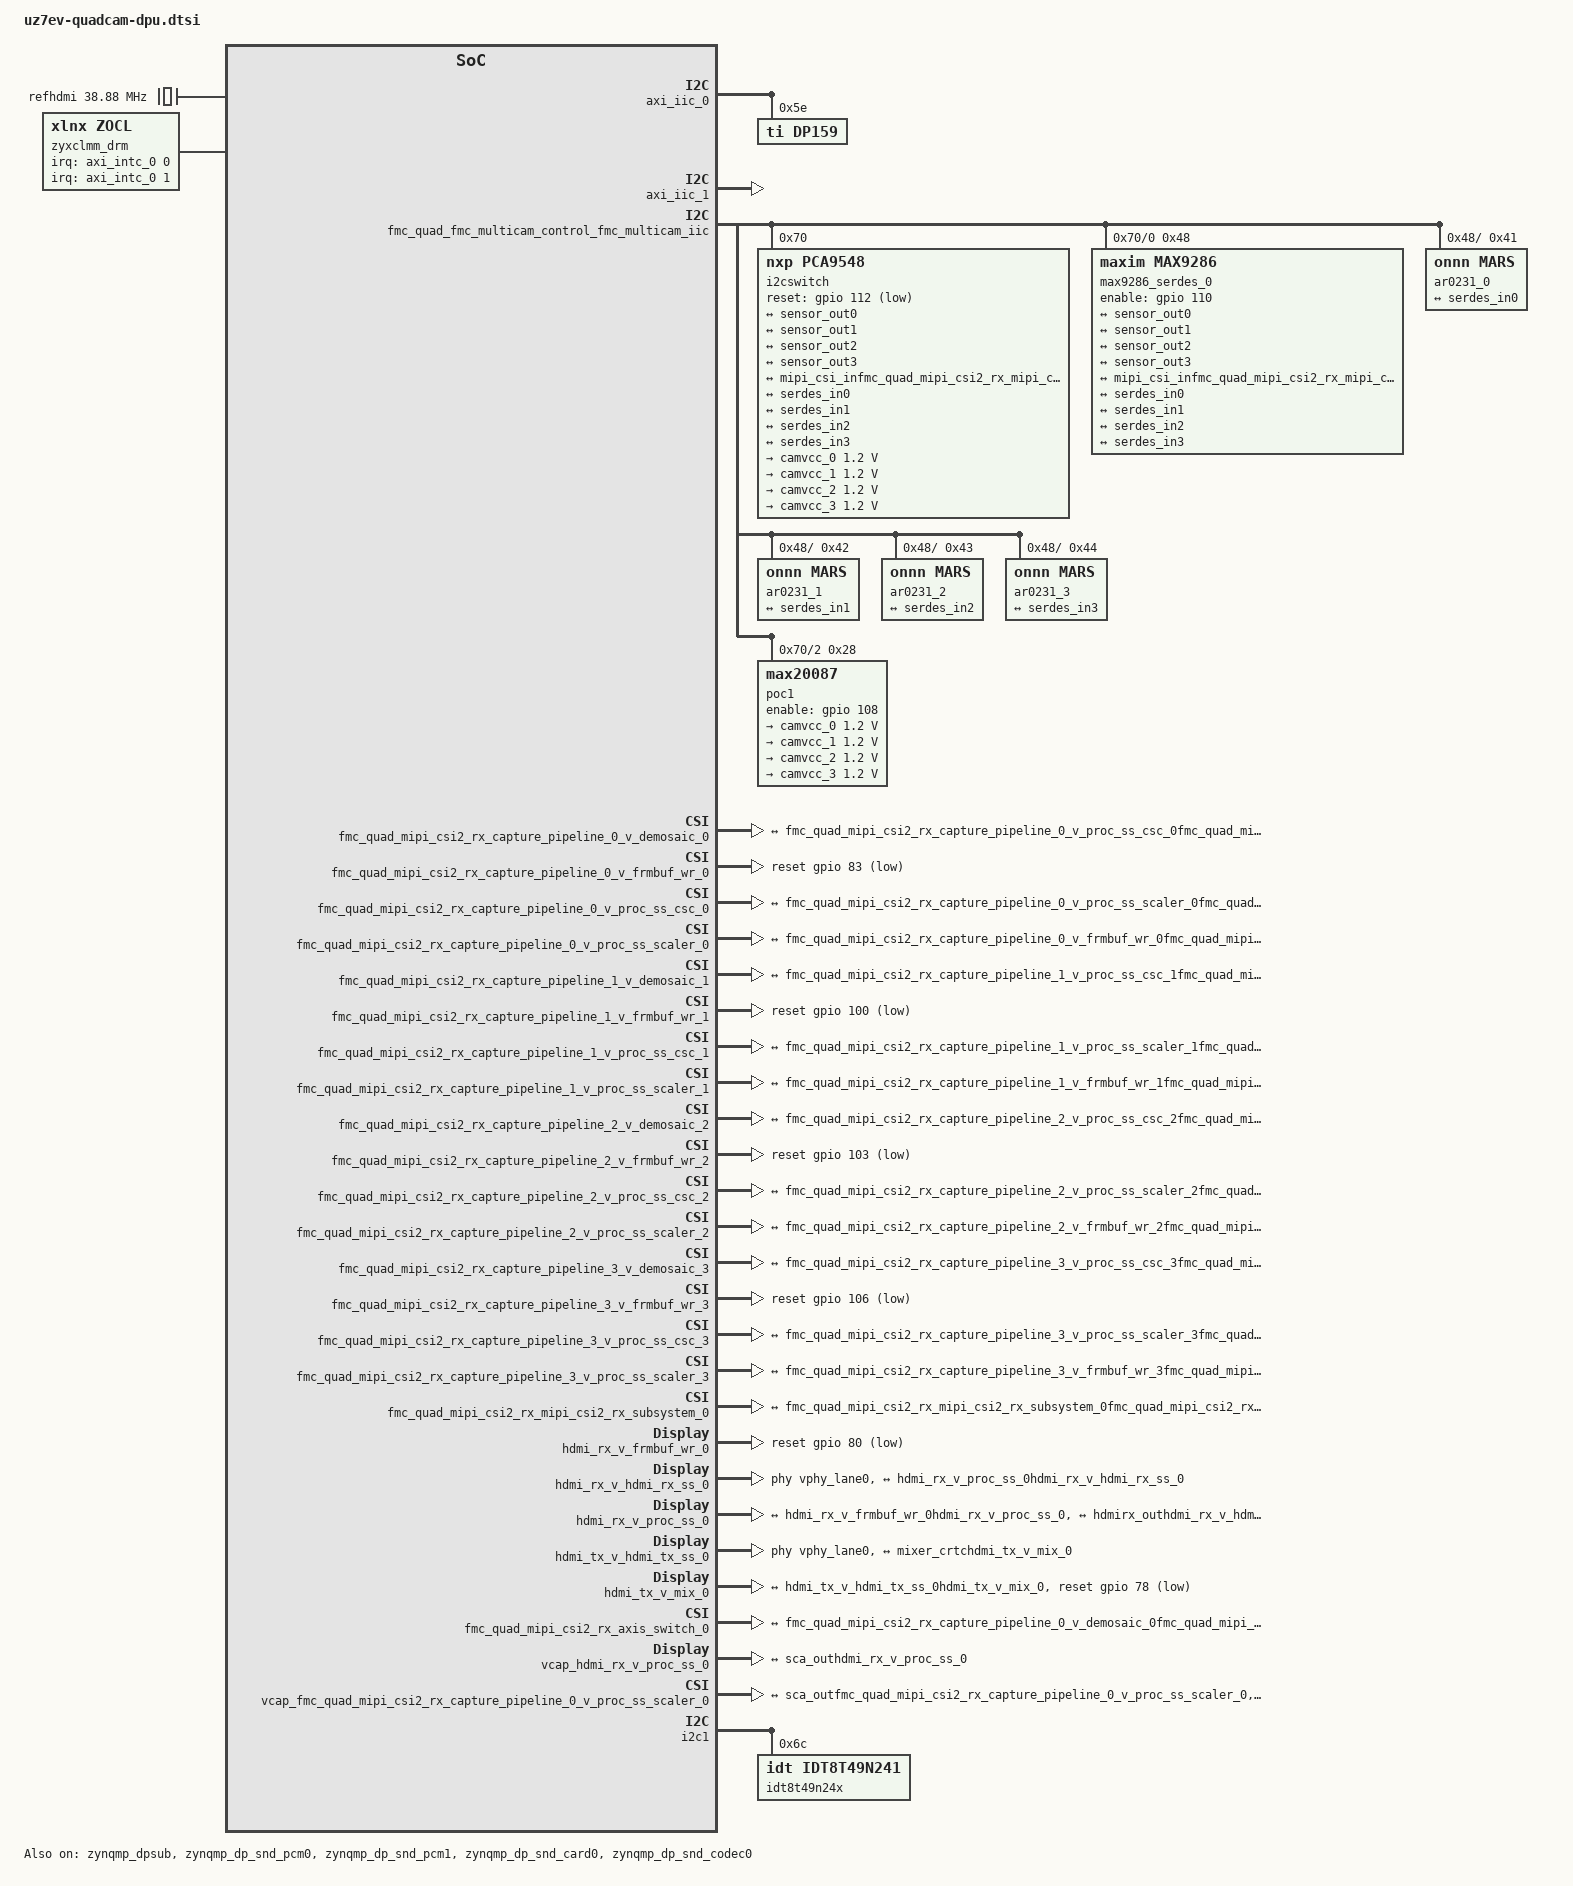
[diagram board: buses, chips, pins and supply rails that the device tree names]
// SPDX-License-Identifier: GPL-2.0
/*
 * dts file for Avnet UltraZed-EV QuadCam + DPU (B4096) design
 *
 * (C) Copyright 2022, Avnet, Inc.
 *
 */

/dts-v1/;
/plugin/;


&fpga_full {
	#address-cells = <2>;
	#size-cells = <2>;
	firmware-name = "uz7ev-quadcam-dpu.bit.bin";
	resets = <&zynqmp_reset 116>, <&zynqmp_reset 117>, <&zynqmp_reset 118>, <&zynqmp_reset 119>;
};

&amba {
	afi0: afi0 {
		compatible = "xlnx,afi-fpga";
		config-afi = <0 0>, <1 0>, <2 0>, <3 0>, <4 0>, <5 0>, <6 0>, <7 0>, <8 0>, <9 0>, <10 0>, <11 0>, <12 0>, <13 0>, <14 0xa00>, <15 0x000>;
		resets = <&zynqmp_reset 116>,
				<&zynqmp_reset 117>,
				<&zynqmp_reset 118>,
				<&zynqmp_reset 119>;
		reset-names = "pl0", "pl1", "pl2", "pl3";
	};
};


&zynqmp_dpsub {
	status = "okay";		
};
&zynqmp_dp_snd_pcm0 {
	status = "okay";		
};
&zynqmp_dp_snd_pcm1 {
	status = "okay";		
};
&zynqmp_dp_snd_card0 {
	status = "okay";		
};
&zynqmp_dp_snd_codec0 {
	status = "okay";		
};

// pl.dtsi

&amba_pl {
		#address-cells = <2>;
		#size-cells = <2>;
		compatible = "simple-bus";
		ranges ;
		axi_iic_0: i2c@a0030000 {
			#address-cells = <1>;
			#size-cells = <0>;
			clock-names = "s_axi_aclk";
			clocks = <&zynqmp_clk 71>;
			compatible = "xlnx,axi-iic-2.1", "xlnx,xps-iic-2.00.a";
			interrupt-names = "iic2intc_irpt";
			interrupt-parent = <&axi_intc_1>;
			interrupts = <5 2>;
			reg = <0x0 0xa0030000 0x0 0x10000>;
		};
		axi_iic_1: i2c@a0060000 {
			#address-cells = <1>;
			#size-cells = <0>;
			clock-names = "s_axi_aclk";
			clocks = <&zynqmp_clk 71>;
			compatible = "xlnx,axi-iic-2.1", "xlnx,xps-iic-2.00.a";
			interrupt-names = "iic2intc_irpt";
			interrupt-parent = <&axi_intc_1>;
			interrupts = <12 2>;
			reg = <0x0 0xa0060000 0x0 0x10000>;
		};
		axi_intc_0: interrupt-controller@a0020000 {
			#interrupt-cells = <2>;
			clock-names = "s_axi_aclk";
			clocks = <&zynqmp_clk 71>;
			compatible = "xlnx,axi-intc-4.1", "xlnx,xps-intc-1.00.a";
			interrupt-controller ;
			interrupt-names = "irq";
			interrupt-parent = <&gic>;
			interrupts = <0 89 1>;
			reg = <0x0 0xa0020000 0x0 0x10000>;
			xlnx,kind-of-intr = <0x1>;
			xlnx,num-intr-inputs = <0x20>;
		};
		axi_intc_1: interrupt-controller@a0070000 {
			#interrupt-cells = <2>;
			clock-names = "s_axi_aclk";
			clocks = <&zynqmp_clk 71>;
			compatible = "xlnx,axi-intc-4.1", "xlnx,xps-intc-1.00.a";
			interrupt-controller ;
			interrupt-names = "irq";
			interrupt-parent = <&gic>;
			interrupts = <0 104 4>;
			reg = <0x0 0xa0070000 0x0 0x10000>;
			xlnx,kind-of-intr = <0x0>;
			xlnx,num-intr-inputs = <0x20>;
		};
		fmc_quad_fmc_multicam_control_fmc_multicam_iic: i2c@a0080000 {
			#address-cells = <1>;
			#size-cells = <0>;
			clock-names = "s_axi_aclk";
			clocks = <&zynqmp_clk 71>;
			compatible = "xlnx,axi-iic-2.1", "xlnx,xps-iic-2.00.a";
			interrupt-names = "iic2intc_irpt";
			interrupt-parent = <&axi_intc_1>;
			interrupts = <7 2>;
			reg = <0x0 0xa0080000 0x0 0x10000>;
		};
		fmc_quad_mipi_csi2_rx_capture_pipeline_0_v_demosaic_0: v_demosaic@b0040000 {
			clock-names = "ap_clk";
			clocks = <&misc_clk_0>;
			compatible = "xlnx,v-demosaic-1.1", "xlnx,v-demosaic";
			reg = <0x0 0xb0040000 0x0 0x10000>;
			reset-gpios = <&gpio 85 1>;
			xlnx,max-height = <1080>;
			xlnx,max-width = <1920>;
			xlnx,s-axi-ctrl-addr-width = <0x6>;
			xlnx,s-axi-ctrl-data-width = <0x20>;
			demosaic_portsfmc_quad_mipi_csi2_rx_capture_pipeline_0_v_demosaic_0: ports {
				#address-cells = <1>;
				#size-cells = <0>;
				demosaic_port1fmc_quad_mipi_csi2_rx_capture_pipeline_0_v_demosaic_0: port@1 {
					/* For cfa-pattern=rggb user needs to fill as per BAYER format */
					reg = <1>;
					xlnx,cfa-pattern = "rggb";
					xlnx,video-width = <8>;
					demo_outfmc_quad_mipi_csi2_rx_capture_pipeline_0_v_demosaic_0: endpoint {
						remote-endpoint = <&fmc_quad_mipi_csi2_rx_capture_pipeline_0_v_proc_ss_csc_0fmc_quad_mipi_csi2_rx_capture_pipeline_0_v_demosaic_0>;
					};
				};
				demosaic_port0fmc_quad_mipi_csi2_rx_capture_pipeline_0_v_demosaic_0: port@0 {
					/* For cfa-pattern=rggb user needs to fill as per BAYER format */
					reg = <0>;
					xlnx,cfa-pattern = "rggb";
					xlnx,video-width = <8>;
					fmc_quad_mipi_csi2_rx_capture_pipeline_0_v_demosaic_0fmc_quad_mipi_csi2_rx_axis_switch_0: endpoint {
						remote-endpoint = <&axis_switch_out1fmc_quad_mipi_csi2_rx_axis_switch_0>;
					};
				};
			};
		};
		misc_clk_0: misc_clk_0 {
			#clock-cells = <0>;
			clock-frequency = <299997000>;
			compatible = "fixed-clock";
		};
		fmc_quad_mipi_csi2_rx_capture_pipeline_0_v_frmbuf_wr_0: v_frmbuf_wr@b0060000 {
			#dma-cells = <1>;
			clock-names = "ap_clk";
			clocks = <&misc_clk_0>;
			compatible = "xlnx,v-frmbuf-wr-2.3", "xlnx,axi-frmbuf-wr-v2.2";
			interrupt-names = "interrupt";
			interrupt-parent = <&axi_intc_1>;
			interrupts = <8 2>;
			reg = <0x0 0xb0060000 0x0 0x10000>;
			reset-gpios = <&gpio 83 1>;
			xlnx,dma-addr-width = <32>;
			xlnx,dma-align = <8>;
			xlnx,max-height = <1080>;
			xlnx,max-width = <1920>;
			xlnx,pixels-per-clock = <1>;
			xlnx,s-axi-ctrl-addr-width = <0x7>;
			xlnx,s-axi-ctrl-data-width = <0x20>;
			xlnx,vid-formats = "rgb888", "uyvy", "y8", "yuyv";
			xlnx,video-width = <8>;
		};
		fmc_quad_mipi_csi2_rx_capture_pipeline_0_v_proc_ss_csc_0: v_proc_ss@b0000000 {
			clock-names = "aclk";
			clocks = <&misc_clk_0>;
			compatible = "xlnx,v-proc-ss-2.3", "xlnx,vpss-csc", "xlnx,v-vpss-csc";
			reg = <0x0 0xb0000000 0x0 0x10000>;
			reset-gpios = <&gpio 84 1>;
			xlnx,colorspace-support = <1>;
			xlnx,csc-enable-window = "true";
			xlnx,max-height = <1080>;
			xlnx,max-width = <1920>;
			xlnx,num-video-components = <3>;
			xlnx,samples-per-clk = <1>;
			xlnx,topology = <3>;
			xlnx,use-uram = <0>;
			xlnx,video-width = <8>;
			csc_portsfmc_quad_mipi_csi2_rx_capture_pipeline_0_v_proc_ss_csc_0: ports {
				#address-cells = <1>;
				#size-cells = <0>;
				csc_port1fmc_quad_mipi_csi2_rx_capture_pipeline_0_v_proc_ss_csc_0: port@1 {
					/* For xlnx,video-format user needs to fill as per their requirement */
					reg = <1>;
					xlnx,video-format = <3>;
					xlnx,video-width = <8>;
					csc_outfmc_quad_mipi_csi2_rx_capture_pipeline_0_v_proc_ss_csc_0: endpoint {
						remote-endpoint = <&fmc_quad_mipi_csi2_rx_capture_pipeline_0_v_proc_ss_scaler_0fmc_quad_mipi_csi2_rx_capture_pipeline_0_v_proc_ss_csc_0>;
					};
				};
				csc_port0fmc_quad_mipi_csi2_rx_capture_pipeline_0_v_proc_ss_csc_0: port@0 {
					/* For xlnx,video-format user needs to fill as per their requirement */
					reg = <0>;
					xlnx,video-format = <3>;
					xlnx,video-width = <8>;
					fmc_quad_mipi_csi2_rx_capture_pipeline_0_v_proc_ss_csc_0fmc_quad_mipi_csi2_rx_capture_pipeline_0_v_demosaic_0: endpoint {
						remote-endpoint = <&demo_outfmc_quad_mipi_csi2_rx_capture_pipeline_0_v_demosaic_0>;
					};
				};
			};
		};
		fmc_quad_mipi_csi2_rx_capture_pipeline_0_v_proc_ss_scaler_0: v_proc_ss@b0080000 {
			clock-names = "aclk_axis", "aclk_ctrl";
			clocks = <&misc_clk_0>, <&misc_clk_0>;
			compatible = "xlnx,v-proc-ss-2.3", "xlnx,vpss-scaler-2.2", "xlnx,v-vpss-scaler-2.2", "xlnx,vpss-scaler";
			reg = <0x0 0xb0080000 0x0 0x40000>;
			reset-gpios = <&gpio 82 1>;
			xlnx,colorspace-support = <1>;
			xlnx,csc-enable-window = "true";
			xlnx,enable-csc = "true";
			xlnx,h-scaler-phases = <64>;
			xlnx,h-scaler-taps = <8>;
			xlnx,max-height = <1080>;
			xlnx,max-num-phases = <64>;
			xlnx,max-width = <1920>;
			xlnx,num-hori-taps = <8>;
			xlnx,num-vert-taps = <8>;
			xlnx,pix-per-clk = <1>;
			xlnx,samples-per-clk = <1>;
			xlnx,scaler-algorithm = <2>;
			xlnx,topology = <0>;
			xlnx,use-uram = <0>;
			xlnx,v-scaler-phases = <64>;
			xlnx,v-scaler-taps = <8>;
			xlnx,video-width = <8>;
			scaler_portsfmc_quad_mipi_csi2_rx_capture_pipeline_0_v_proc_ss_scaler_0: ports {
				#address-cells = <1>;
				#size-cells = <0>;
				scaler_port1fmc_quad_mipi_csi2_rx_capture_pipeline_0_v_proc_ss_scaler_0: port@1 {
					/* For xlnx,video-format user needs to fill as per their requirement */
					reg = <1>;
					xlnx,video-format = <3>;
					xlnx,video-width = <8>;
					sca_outfmc_quad_mipi_csi2_rx_capture_pipeline_0_v_proc_ss_scaler_0: endpoint {
						remote-endpoint = <&fmc_quad_mipi_csi2_rx_capture_pipeline_0_v_frmbuf_wr_0fmc_quad_mipi_csi2_rx_capture_pipeline_0_v_proc_ss_scaler_0>;
					};
				};
				scaler_port0fmc_quad_mipi_csi2_rx_capture_pipeline_0_v_proc_ss_scaler_0: port@0 {
					/* For xlnx,video-format user needs to fill as per their requirement */
					reg = <0>;
					xlnx,video-format = <3>;
					xlnx,video-width = <8>;
					fmc_quad_mipi_csi2_rx_capture_pipeline_0_v_proc_ss_scaler_0fmc_quad_mipi_csi2_rx_capture_pipeline_0_v_proc_ss_csc_0: endpoint {
						remote-endpoint = <&csc_outfmc_quad_mipi_csi2_rx_capture_pipeline_0_v_proc_ss_csc_0>;
					};
				};
			};
		};
		fmc_quad_mipi_csi2_rx_capture_pipeline_1_v_demosaic_1: v_demosaic@b0070000 {
			clock-names = "ap_clk";
			clocks = <&misc_clk_0>;
			compatible = "xlnx,v-demosaic-1.1", "xlnx,v-demosaic";
			reg = <0x0 0xb0070000 0x0 0x10000>;
			reset-gpios = <&gpio 98 1>;
			xlnx,max-height = <1080>;
			xlnx,max-width = <1920>;
			xlnx,s-axi-ctrl-addr-width = <0x6>;
			xlnx,s-axi-ctrl-data-width = <0x20>;
			demosaic_portsfmc_quad_mipi_csi2_rx_capture_pipeline_1_v_demosaic_1: ports {
				#address-cells = <1>;
				#size-cells = <0>;
				demosaic_port1fmc_quad_mipi_csi2_rx_capture_pipeline_1_v_demosaic_1: port@1 {
					/* For cfa-pattern=rggb user needs to fill as per BAYER format */
					reg = <1>;
					xlnx,cfa-pattern = "rggb";
					xlnx,video-width = <8>;
					demo_outfmc_quad_mipi_csi2_rx_capture_pipeline_1_v_demosaic_1: endpoint {
						remote-endpoint = <&fmc_quad_mipi_csi2_rx_capture_pipeline_1_v_proc_ss_csc_1fmc_quad_mipi_csi2_rx_capture_pipeline_1_v_demosaic_1>;
					};
				};
				demosaic_port0fmc_quad_mipi_csi2_rx_capture_pipeline_1_v_demosaic_1: port@0 {
					/* For cfa-pattern=rggb user needs to fill as per BAYER format */
					reg = <0>;
					xlnx,cfa-pattern = "rggb";
					xlnx,video-width = <8>;
					fmc_quad_mipi_csi2_rx_capture_pipeline_1_v_demosaic_1fmc_quad_mipi_csi2_rx_axis_switch_0: endpoint {
						remote-endpoint = <&axis_switch_out2fmc_quad_mipi_csi2_rx_axis_switch_0>;
					};
				};
			};
		};
		fmc_quad_mipi_csi2_rx_capture_pipeline_1_v_frmbuf_wr_1: v_frmbuf_wr@b01c0000 {
			#dma-cells = <1>;
			clock-names = "ap_clk";
			clocks = <&misc_clk_0>;
			compatible = "xlnx,v-frmbuf-wr-2.3", "xlnx,axi-frmbuf-wr-v2.2";
			interrupt-names = "interrupt";
			interrupt-parent = <&axi_intc_1>;
			interrupts = <9 2>;
			reg = <0x0 0xb01c0000 0x0 0x10000>;
			reset-gpios = <&gpio 100 1>;
			xlnx,dma-addr-width = <32>;
			xlnx,dma-align = <8>;
			xlnx,max-height = <1080>;
			xlnx,max-width = <1920>;
			xlnx,pixels-per-clock = <1>;
			xlnx,s-axi-ctrl-addr-width = <0x7>;
			xlnx,s-axi-ctrl-data-width = <0x20>;
			xlnx,vid-formats = "rgb888", "uyvy", "y8", "yuyv";
			xlnx,video-width = <8>;
		};
		fmc_quad_mipi_csi2_rx_capture_pipeline_1_v_proc_ss_csc_1: v_proc_ss@b0010000 {
			clock-names = "aclk";
			clocks = <&misc_clk_0>;
			compatible = "xlnx,v-proc-ss-2.3", "xlnx,vpss-csc", "xlnx,v-vpss-csc";
			reg = <0x0 0xb0010000 0x0 0x10000>;
			reset-gpios = <&gpio 92 1>;
			xlnx,colorspace-support = <1>;
			xlnx,csc-enable-window = "true";
			xlnx,max-height = <1080>;
			xlnx,max-width = <1920>;
			xlnx,num-video-components = <3>;
			xlnx,samples-per-clk = <1>;
			xlnx,topology = <3>;
			xlnx,use-uram = <0>;
			xlnx,video-width = <8>;
			csc_portsfmc_quad_mipi_csi2_rx_capture_pipeline_1_v_proc_ss_csc_1: ports {
				#address-cells = <1>;
				#size-cells = <0>;
				csc_port1fmc_quad_mipi_csi2_rx_capture_pipeline_1_v_proc_ss_csc_1: port@1 {
					/* For xlnx,video-format user needs to fill as per their requirement */
					reg = <1>;
					xlnx,video-format = <3>;
					xlnx,video-width = <8>;
					csc_outfmc_quad_mipi_csi2_rx_capture_pipeline_1_v_proc_ss_csc_1: endpoint {
						remote-endpoint = <&fmc_quad_mipi_csi2_rx_capture_pipeline_1_v_proc_ss_scaler_1fmc_quad_mipi_csi2_rx_capture_pipeline_1_v_proc_ss_csc_1>;
					};
				};
				csc_port0fmc_quad_mipi_csi2_rx_capture_pipeline_1_v_proc_ss_csc_1: port@0 {
					/* For xlnx,video-format user needs to fill as per their requirement */
					reg = <0>;
					xlnx,video-format = <3>;
					xlnx,video-width = <8>;
					fmc_quad_mipi_csi2_rx_capture_pipeline_1_v_proc_ss_csc_1fmc_quad_mipi_csi2_rx_capture_pipeline_1_v_demosaic_1: endpoint {
						remote-endpoint = <&demo_outfmc_quad_mipi_csi2_rx_capture_pipeline_1_v_demosaic_1>;
					};
				};
			};
		};
		fmc_quad_mipi_csi2_rx_capture_pipeline_1_v_proc_ss_scaler_1: v_proc_ss@b00c0000 {
			clock-names = "aclk_axis", "aclk_ctrl";
			clocks = <&misc_clk_0>, <&misc_clk_0>;
			compatible = "xlnx,v-proc-ss-2.3", "xlnx,vpss-scaler-2.2", "xlnx,v-vpss-scaler-2.2", "xlnx,vpss-scaler";
			reg = <0x0 0xb00c0000 0x0 0x40000>;
			reset-gpios = <&gpio 99 1>;
			xlnx,colorspace-support = <1>;
			xlnx,csc-enable-window = "true";
			xlnx,enable-csc = "true";
			xlnx,h-scaler-phases = <64>;
			xlnx,h-scaler-taps = <8>;
			xlnx,max-height = <1080>;
			xlnx,max-num-phases = <64>;
			xlnx,max-width = <1920>;
			xlnx,num-hori-taps = <8>;
			xlnx,num-vert-taps = <8>;
			xlnx,pix-per-clk = <1>;
			xlnx,samples-per-clk = <1>;
			xlnx,scaler-algorithm = <2>;
			xlnx,topology = <0>;
			xlnx,use-uram = <0>;
			xlnx,v-scaler-phases = <64>;
			xlnx,v-scaler-taps = <8>;
			xlnx,video-width = <8>;
			scaler_portsfmc_quad_mipi_csi2_rx_capture_pipeline_1_v_proc_ss_scaler_1: ports {
				#address-cells = <1>;
				#size-cells = <0>;
				scaler_port1fmc_quad_mipi_csi2_rx_capture_pipeline_1_v_proc_ss_scaler_1: port@1 {
					/* For xlnx,video-format user needs to fill as per their requirement */
					reg = <1>;
					xlnx,video-format = <3>;
					xlnx,video-width = <8>;
					sca_outfmc_quad_mipi_csi2_rx_capture_pipeline_1_v_proc_ss_scaler_1: endpoint {
						remote-endpoint = <&fmc_quad_mipi_csi2_rx_capture_pipeline_1_v_frmbuf_wr_1fmc_quad_mipi_csi2_rx_capture_pipeline_1_v_proc_ss_scaler_1>;
					};
				};
				scaler_port0fmc_quad_mipi_csi2_rx_capture_pipeline_1_v_proc_ss_scaler_1: port@0 {
					/* For xlnx,video-format user needs to fill as per their requirement */
					reg = <0>;
					xlnx,video-format = <3>;
					xlnx,video-width = <8>;
					fmc_quad_mipi_csi2_rx_capture_pipeline_1_v_proc_ss_scaler_1fmc_quad_mipi_csi2_rx_capture_pipeline_1_v_proc_ss_csc_1: endpoint {
						remote-endpoint = <&csc_outfmc_quad_mipi_csi2_rx_capture_pipeline_1_v_proc_ss_csc_1>;
					};
				};
			};
		};
		fmc_quad_mipi_csi2_rx_capture_pipeline_2_v_demosaic_2: v_demosaic@b01d0000 {
			clock-names = "ap_clk";
			clocks = <&misc_clk_0>;
			compatible = "xlnx,v-demosaic-1.1", "xlnx,v-demosaic";
			reg = <0x0 0xb01d0000 0x0 0x10000>;
			reset-gpios = <&gpio 101 1>;
			xlnx,max-height = <1080>;
			xlnx,max-width = <1920>;
			xlnx,s-axi-ctrl-addr-width = <0x6>;
			xlnx,s-axi-ctrl-data-width = <0x20>;
			demosaic_portsfmc_quad_mipi_csi2_rx_capture_pipeline_2_v_demosaic_2: ports {
				#address-cells = <1>;
				#size-cells = <0>;
				demosaic_port1fmc_quad_mipi_csi2_rx_capture_pipeline_2_v_demosaic_2: port@1 {
					/* For cfa-pattern=rggb user needs to fill as per BAYER format */
					reg = <1>;
					xlnx,cfa-pattern = "rggb";
					xlnx,video-width = <8>;
					demo_outfmc_quad_mipi_csi2_rx_capture_pipeline_2_v_demosaic_2: endpoint {
						remote-endpoint = <&fmc_quad_mipi_csi2_rx_capture_pipeline_2_v_proc_ss_csc_2fmc_quad_mipi_csi2_rx_capture_pipeline_2_v_demosaic_2>;
					};
				};
				demosaic_port0fmc_quad_mipi_csi2_rx_capture_pipeline_2_v_demosaic_2: port@0 {
					/* For cfa-pattern=rggb user needs to fill as per BAYER format */
					reg = <0>;
					xlnx,cfa-pattern = "rggb";
					xlnx,video-width = <8>;
					fmc_quad_mipi_csi2_rx_capture_pipeline_2_v_demosaic_2fmc_quad_mipi_csi2_rx_axis_switch_0: endpoint {
						remote-endpoint = <&axis_switch_out3fmc_quad_mipi_csi2_rx_axis_switch_0>;
					};
				};
			};
		};
		fmc_quad_mipi_csi2_rx_capture_pipeline_2_v_frmbuf_wr_2: v_frmbuf_wr@b01e0000 {
			#dma-cells = <1>;
			clock-names = "ap_clk";
			clocks = <&misc_clk_0>;
			compatible = "xlnx,v-frmbuf-wr-2.3", "xlnx,axi-frmbuf-wr-v2.2";
			interrupt-names = "interrupt";
			interrupt-parent = <&axi_intc_1>;
			interrupts = <10 2>;
			reg = <0x0 0xb01e0000 0x0 0x10000>;
			reset-gpios = <&gpio 103 1>;
			xlnx,dma-addr-width = <32>;
			xlnx,dma-align = <8>;
			xlnx,max-height = <1080>;
			xlnx,max-width = <1920>;
			xlnx,pixels-per-clock = <1>;
			xlnx,s-axi-ctrl-addr-width = <0x7>;
			xlnx,s-axi-ctrl-data-width = <0x20>;
			xlnx,vid-formats = "rgb888", "uyvy", "y8", "yuyv";
			xlnx,video-width = <8>;
		};
		fmc_quad_mipi_csi2_rx_capture_pipeline_2_v_proc_ss_csc_2: v_proc_ss@b0020000 {
			clock-names = "aclk";
			clocks = <&misc_clk_0>;
			compatible = "xlnx,v-proc-ss-2.3", "xlnx,vpss-csc", "xlnx,v-vpss-csc";
			reg = <0x0 0xb0020000 0x0 0x10000>;
			reset-gpios = <&gpio 93 1>;
			xlnx,colorspace-support = <1>;
			xlnx,csc-enable-window = "true";
			xlnx,max-height = <1080>;
			xlnx,max-width = <1920>;
			xlnx,num-video-components = <3>;
			xlnx,samples-per-clk = <1>;
			xlnx,topology = <3>;
			xlnx,use-uram = <0>;
			xlnx,video-width = <8>;
			csc_portsfmc_quad_mipi_csi2_rx_capture_pipeline_2_v_proc_ss_csc_2: ports {
				#address-cells = <1>;
				#size-cells = <0>;
				csc_port1fmc_quad_mipi_csi2_rx_capture_pipeline_2_v_proc_ss_csc_2: port@1 {
					/* For xlnx,video-format user needs to fill as per their requirement */
					reg = <1>;
					xlnx,video-format = <3>;
					xlnx,video-width = <8>;
					csc_outfmc_quad_mipi_csi2_rx_capture_pipeline_2_v_proc_ss_csc_2: endpoint {
						remote-endpoint = <&fmc_quad_mipi_csi2_rx_capture_pipeline_2_v_proc_ss_scaler_2fmc_quad_mipi_csi2_rx_capture_pipeline_2_v_proc_ss_csc_2>;
					};
				};
				csc_port0fmc_quad_mipi_csi2_rx_capture_pipeline_2_v_proc_ss_csc_2: port@0 {
					/* For xlnx,video-format user needs to fill as per their requirement */
					reg = <0>;
					xlnx,video-format = <3>;
					xlnx,video-width = <8>;
					fmc_quad_mipi_csi2_rx_capture_pipeline_2_v_proc_ss_csc_2fmc_quad_mipi_csi2_rx_capture_pipeline_2_v_demosaic_2: endpoint {
						remote-endpoint = <&demo_outfmc_quad_mipi_csi2_rx_capture_pipeline_2_v_demosaic_2>;
					};
				};
			};
		};
		fmc_quad_mipi_csi2_rx_capture_pipeline_2_v_proc_ss_scaler_2: v_proc_ss@b0100000 {
			clock-names = "aclk_axis", "aclk_ctrl";
			clocks = <&misc_clk_0>, <&misc_clk_0>;
			compatible = "xlnx,v-proc-ss-2.3", "xlnx,vpss-scaler-2.2", "xlnx,v-vpss-scaler-2.2", "xlnx,vpss-scaler";
			reg = <0x0 0xb0100000 0x0 0x40000>;
			reset-gpios = <&gpio 102 1>;
			xlnx,colorspace-support = <1>;
			xlnx,csc-enable-window = "true";
			xlnx,enable-csc = "true";
			xlnx,h-scaler-phases = <64>;
			xlnx,h-scaler-taps = <8>;
			xlnx,max-height = <1080>;
			xlnx,max-num-phases = <64>;
			xlnx,max-width = <1920>;
			xlnx,num-hori-taps = <8>;
			xlnx,num-vert-taps = <8>;
			xlnx,pix-per-clk = <1>;
			xlnx,samples-per-clk = <1>;
			xlnx,scaler-algorithm = <2>;
			xlnx,topology = <0>;
			xlnx,use-uram = <0>;
			xlnx,v-scaler-phases = <64>;
			xlnx,v-scaler-taps = <8>;
			xlnx,video-width = <8>;
			scaler_portsfmc_quad_mipi_csi2_rx_capture_pipeline_2_v_proc_ss_scaler_2: ports {
				#address-cells = <1>;
				#size-cells = <0>;
				scaler_port1fmc_quad_mipi_csi2_rx_capture_pipeline_2_v_proc_ss_scaler_2: port@1 {
					/* For xlnx,video-format user needs to fill as per their requirement */
					reg = <1>;
					xlnx,video-format = <3>;
					xlnx,video-width = <8>;
					sca_outfmc_quad_mipi_csi2_rx_capture_pipeline_2_v_proc_ss_scaler_2: endpoint {
						remote-endpoint = <&fmc_quad_mipi_csi2_rx_capture_pipeline_2_v_frmbuf_wr_2fmc_quad_mipi_csi2_rx_capture_pipeline_2_v_proc_ss_scaler_2>;
					};
				};
				scaler_port0fmc_quad_mipi_csi2_rx_capture_pipeline_2_v_proc_ss_scaler_2: port@0 {
					/* For xlnx,video-format user needs to fill as per their requirement */
					reg = <0>;
					xlnx,video-format = <3>;
					xlnx,video-width = <8>;
					fmc_quad_mipi_csi2_rx_capture_pipeline_2_v_proc_ss_scaler_2fmc_quad_mipi_csi2_rx_capture_pipeline_2_v_proc_ss_csc_2: endpoint {
						remote-endpoint = <&csc_outfmc_quad_mipi_csi2_rx_capture_pipeline_2_v_proc_ss_csc_2>;
					};
				};
			};
		};
		fmc_quad_mipi_csi2_rx_capture_pipeline_3_v_demosaic_3: v_demosaic@b01f0000 {
			clock-names = "ap_clk";
			clocks = <&misc_clk_0>;
			compatible = "xlnx,v-demosaic-1.1", "xlnx,v-demosaic";
			reg = <0x0 0xb01f0000 0x0 0x10000>;
			reset-gpios = <&gpio 104 1>;
			xlnx,max-height = <1080>;
			xlnx,max-width = <1920>;
			xlnx,s-axi-ctrl-addr-width = <0x6>;
			xlnx,s-axi-ctrl-data-width = <0x20>;
			demosaic_portsfmc_quad_mipi_csi2_rx_capture_pipeline_3_v_demosaic_3: ports {
				#address-cells = <1>;
				#size-cells = <0>;
				demosaic_port1fmc_quad_mipi_csi2_rx_capture_pipeline_3_v_demosaic_3: port@1 {
					/* For cfa-pattern=rggb user needs to fill as per BAYER format */
					reg = <1>;
					xlnx,cfa-pattern = "rggb";
					xlnx,video-width = <8>;
					demo_outfmc_quad_mipi_csi2_rx_capture_pipeline_3_v_demosaic_3: endpoint {
						remote-endpoint = <&fmc_quad_mipi_csi2_rx_capture_pipeline_3_v_proc_ss_csc_3fmc_quad_mipi_csi2_rx_capture_pipeline_3_v_demosaic_3>;
					};
				};
				demosaic_port0fmc_quad_mipi_csi2_rx_capture_pipeline_3_v_demosaic_3: port@0 {
					/* For cfa-pattern=rggb user needs to fill as per BAYER format */
					reg = <0>;
					xlnx,cfa-pattern = "rggb";
					xlnx,video-width = <8>;
					fmc_quad_mipi_csi2_rx_capture_pipeline_3_v_demosaic_3fmc_quad_mipi_csi2_rx_axis_switch_0: endpoint {
						remote-endpoint = <&axis_switch_out4fmc_quad_mipi_csi2_rx_axis_switch_0>;
					};
				};
			};
		};
		fmc_quad_mipi_csi2_rx_capture_pipeline_3_v_frmbuf_wr_3: v_frmbuf_wr@b0200000 {
			#dma-cells = <1>;
			clock-names = "ap_clk";
			clocks = <&misc_clk_0>;
			compatible = "xlnx,v-frmbuf-wr-2.3", "xlnx,axi-frmbuf-wr-v2.2";
			interrupt-names = "interrupt";
			interrupt-parent = <&axi_intc_1>;
			interrupts = <11 2>;
			reg = <0x0 0xb0200000 0x0 0x10000>;
			reset-gpios = <&gpio 106 1>;
			xlnx,dma-addr-width = <32>;
			xlnx,dma-align = <8>;
			xlnx,max-height = <1080>;
			xlnx,max-width = <1920>;
			xlnx,pixels-per-clock = <1>;
			xlnx,s-axi-ctrl-addr-width = <0x7>;
			xlnx,s-axi-ctrl-data-width = <0x20>;
			xlnx,vid-formats = "rgb888", "uyvy", "y8", "yuyv";
			xlnx,video-width = <8>;
		};
		fmc_quad_mipi_csi2_rx_capture_pipeline_3_v_proc_ss_csc_3: v_proc_ss@b0030000 {
			clock-names = "aclk";
			clocks = <&misc_clk_0>;
			compatible = "xlnx,v-proc-ss-2.3", "xlnx,vpss-csc", "xlnx,v-vpss-csc";
			reg = <0x0 0xb0030000 0x0 0x10000>;
			reset-gpios = <&gpio 94 1>;
			xlnx,colorspace-support = <1>;
			xlnx,csc-enable-window = "true";
			xlnx,max-height = <1080>;
			xlnx,max-width = <1920>;
			xlnx,num-video-components = <3>;
			xlnx,samples-per-clk = <1>;
			xlnx,topology = <3>;
			xlnx,use-uram = <0>;
			xlnx,video-width = <8>;
			csc_portsfmc_quad_mipi_csi2_rx_capture_pipeline_3_v_proc_ss_csc_3: ports {
				#address-cells = <1>;
				#size-cells = <0>;
				csc_port1fmc_quad_mipi_csi2_rx_capture_pipeline_3_v_proc_ss_csc_3: port@1 {
					/* For xlnx,video-format user needs to fill as per their requirement */
					reg = <1>;
					xlnx,video-format = <3>;
					xlnx,video-width = <8>;
					csc_outfmc_quad_mipi_csi2_rx_capture_pipeline_3_v_proc_ss_csc_3: endpoint {
						remote-endpoint = <&fmc_quad_mipi_csi2_rx_capture_pipeline_3_v_proc_ss_scaler_3fmc_quad_mipi_csi2_rx_capture_pipeline_3_v_proc_ss_csc_3>;
					};
				};
				csc_port0fmc_quad_mipi_csi2_rx_capture_pipeline_3_v_proc_ss_csc_3: port@0 {
					/* For xlnx,video-format user needs to fill as per their requirement */
					reg = <0>;
					xlnx,video-format = <3>;
					xlnx,video-width = <8>;
					fmc_quad_mipi_csi2_rx_capture_pipeline_3_v_proc_ss_csc_3fmc_quad_mipi_csi2_rx_capture_pipeline_3_v_demosaic_3: endpoint {
						remote-endpoint = <&demo_outfmc_quad_mipi_csi2_rx_capture_pipeline_3_v_demosaic_3>;
					};
				};
			};
		};
		fmc_quad_mipi_csi2_rx_capture_pipeline_3_v_proc_ss_scaler_3: v_proc_ss@b0140000 {
			clock-names = "aclk_axis", "aclk_ctrl";
			clocks = <&misc_clk_0>, <&misc_clk_0>;
			compatible = "xlnx,v-proc-ss-2.3", "xlnx,vpss-scaler-2.2", "xlnx,v-vpss-scaler-2.2", "xlnx,vpss-scaler";
			reg = <0x0 0xb0140000 0x0 0x40000>;
			reset-gpios = <&gpio 105 1>;
			xlnx,colorspace-support = <1>;
			xlnx,csc-enable-window = "true";
			xlnx,enable-csc = "true";
			xlnx,h-scaler-phases = <64>;
			xlnx,h-scaler-taps = <8>;
			xlnx,max-height = <1080>;
			xlnx,max-num-phases = <64>;
			xlnx,max-width = <1920>;
			xlnx,num-hori-taps = <8>;
			xlnx,num-vert-taps = <8>;
			xlnx,pix-per-clk = <1>;
			xlnx,samples-per-clk = <1>;
			xlnx,scaler-algorithm = <2>;
			xlnx,topology = <0>;
			xlnx,use-uram = <0>;
			xlnx,v-scaler-phases = <64>;
			xlnx,v-scaler-taps = <8>;
			xlnx,video-width = <8>;
			scaler_portsfmc_quad_mipi_csi2_rx_capture_pipeline_3_v_proc_ss_scaler_3: ports {
				#address-cells = <1>;
				#size-cells = <0>;
				scaler_port1fmc_quad_mipi_csi2_rx_capture_pipeline_3_v_proc_ss_scaler_3: port@1 {
					/* For xlnx,video-format user needs to fill as per their requirement */
					reg = <1>;
					xlnx,video-format = <3>;
					xlnx,video-width = <8>;
					sca_outfmc_quad_mipi_csi2_rx_capture_pipeline_3_v_proc_ss_scaler_3: endpoint {
						remote-endpoint = <&fmc_quad_mipi_csi2_rx_capture_pipeline_3_v_frmbuf_wr_3fmc_quad_mipi_csi2_rx_capture_pipeline_3_v_proc_ss_scaler_3>;
					};
				};
				scaler_port0fmc_quad_mipi_csi2_rx_capture_pipeline_3_v_proc_ss_scaler_3: port@0 {
					/* For xlnx,video-format user needs to fill as per their requirement */
					reg = <0>;
					xlnx,video-format = <3>;
					xlnx,video-width = <8>;
					fmc_quad_mipi_csi2_rx_capture_pipeline_3_v_proc_ss_scaler_3fmc_quad_mipi_csi2_rx_capture_pipeline_3_v_proc_ss_csc_3: endpoint {
						remote-endpoint = <&csc_outfmc_quad_mipi_csi2_rx_capture_pipeline_3_v_proc_ss_csc_3>;
					};
				};
			};
		};
		fmc_quad_mipi_csi2_rx_mipi_csi2_rx_subsystem_0: mipi_csi2_rx_subsystem@a0000000 {
			clock-names = "lite_aclk", "dphy_clk_200M", "video_aclk";
			clocks = <&zynqmp_clk 71>, <&misc_clk_1>, <&misc_clk_0>;
			compatible = "xlnx,mipi-csi2-rx-subsystem-5.1", "xlnx,mipi-csi2-rx-subsystem-5.0";
			interrupt-names = "csirxss_csi_irq";
			interrupt-parent = <&axi_intc_1>;
			interrupts = <6 2>;
			reg = <0x0 0xa0000000 0x0 0x2000>;
			xlnx,axis-tdata-width = <32>;
			xlnx,csi-pxl-format = <0x2c>;
			xlnx,dphy-present ;
			xlnx,en-active-lanes ;
			xlnx,max-lanes = <4>;
			xlnx,ppc = <1>;
			xlnx,vc = <4>;
			xlnx,vfb ;
			mipi_csi_portsfmc_quad_mipi_csi2_rx_mipi_csi2_rx_subsystem_0: ports {
				#address-cells = <1>;
				#size-cells = <0>;
				mipi_csi_port1fmc_quad_mipi_csi2_rx_mipi_csi2_rx_subsystem_0: port@1 {
					/* Fill cfa-pattern=rggb for raw data types, other fields video-format and video-width user needs to fill */
					reg = <1>;
					xlnx,cfa-pattern = "rggb";
					xlnx,video-format = <12>;
					xlnx,video-width = <8>;
					mipi_csirx_outfmc_quad_mipi_csi2_rx_mipi_csi2_rx_subsystem_0: endpoint {
						remote-endpoint = <&fmc_quad_mipi_csi2_rx_mipi_csi2_rx_subsystem_0fmc_quad_mipi_csi2_rx_mipi_csi2_rx_subsystem_0>;
					};
				};
				mipi_csi_port0fmc_quad_mipi_csi2_rx_mipi_csi2_rx_subsystem_0: port@0 {
					/* Fill cfa-pattern=rggb for raw data types, other fields video-format,video-width user needs to fill */
					/* User need to add something like remote-endpoint=<&out> under the node csiss_in:endpoint */
					reg = <0>;
					xlnx,cfa-pattern = "rggb";
					xlnx,video-format = <12>;
					xlnx,video-width = <8>;
					mipi_csi_infmc_quad_mipi_csi2_rx_mipi_csi2_rx_subsystem_0: endpoint {
						data-lanes = <1 2 3 4>;
					};
				};
			};
		};
		misc_clk_1: misc_clk_1 {
			#clock-cells = <0>;
			clock-frequency = <199998000>;
			compatible = "fixed-clock";
		};
		hdmi_rx_v_frmbuf_wr_0: v_frmbuf_wr@b0210000 {
			#dma-cells = <1>;
			clock-names = "ap_clk";
			clocks = <&misc_clk_0>;
			compatible = "xlnx,v-frmbuf-wr-2.3", "xlnx,axi-frmbuf-wr-v2.2";
			interrupt-names = "interrupt";
			interrupt-parent = <&axi_intc_1>;
			interrupts = <3 2>;
			reg = <0x0 0xb0210000 0x0 0x10000>;
			reset-gpios = <&gpio 80 1>;
			xlnx,dma-addr-width = <64>;
			xlnx,dma-align = <16>;
			xlnx,max-height = <2160>;
			xlnx,max-width = <3840>;
			xlnx,pixels-per-clock = <2>;
			xlnx,s-axi-ctrl-addr-width = <0x7>;
			xlnx,s-axi-ctrl-data-width = <0x20>;
			xlnx,vid-formats = "uyvy", "y8", "yuyv";
			xlnx,video-width = <8>;
		};
		hdmi_rx_v_hdmi_rx_ss_0: v_hdmi_rx_ss@a0010000 {
			clock-names = "s_axi_cpu_aclk", "link_clk", "s_axis_audio_aclk", "video_clk", "s_axis_video_aclk";
			clocks = <&zynqmp_clk 71>, <&misc_clk_2>, <&zynqmp_clk 71>, <&misc_clk_3>, <&misc_clk_0>;
			compatible = "xlnx,v-hdmi-rx-ss-3.2", "xlnx,v-hdmi-rx-ss-3.1";
			interrupt-names = "irq";
			interrupt-parent = <&axi_intc_1>;
			interrupts = <4 2>;
			phy-names = "hdmi-phy0", "hdmi-phy1", "hdmi-phy2";
			phys = <&vphy_lane0 0 1 1 0>, <&vphy_lane1 0 1 1 0>, <&vphy_lane2 0 1 1 0>;
			reg = <0x0 0xa0010000 0x0 0x10000>;
			xlnx,edid-ram-size = <0x100>;
			xlnx,input-pixels-per-clock = <2>;
			xlnx,max-bits-per-component = <8>;
			hdmirx_portshdmi_rx_v_hdmi_rx_ss_0: ports {
				#address-cells = <1>;
				#size-cells = <0>;
				hdmirx_porthdmi_rx_v_hdmi_rx_ss_0: port@0 {
					/* Fill the fields xlnx,video-format and xlnx,video-width based on user requirement */
					reg = <0>;
					xlnx,video-format = <0>;
					xlnx,video-width = <10>;
					hdmirx_outhdmi_rx_v_hdmi_rx_ss_0: endpoint {
						remote-endpoint = <&hdmi_rx_v_proc_ss_0hdmi_rx_v_hdmi_rx_ss_0>;
					};
				};
			};
		};
		misc_clk_2: misc_clk_2 {
			#clock-cells = <0>;
			clock-frequency = <148500000>;
			compatible = "fixed-clock";
		};
		misc_clk_3: misc_clk_3 {
			#clock-cells = <0>;
			clock-frequency = <297000000>;
			compatible = "fixed-clock";
		};
		hdmi_rx_v_proc_ss_0: v_proc_ss@b0180000 {
			clock-names = "aclk_axis", "aclk_ctrl";
			clocks = <&misc_clk_0>, <&misc_clk_0>;
			compatible = "xlnx,v-proc-ss-2.3", "xlnx,vpss-scaler-2.2", "xlnx,v-vpss-scaler-2.2", "xlnx,vpss-scaler";
			reg = <0x0 0xb0180000 0x0 0x40000>;
			reset-gpios = <&gpio 79 1>;
			xlnx,colorspace-support = <0>;
			xlnx,csc-enable-window = "true";
			xlnx,enable-csc = "true";
			xlnx,h-scaler-phases = <64>;
			xlnx,h-scaler-taps = <8>;
			xlnx,max-height = <2160>;
			xlnx,max-num-phases = <64>;
			xlnx,max-width = <3840>;
			xlnx,num-hori-taps = <8>;
			xlnx,num-vert-taps = <8>;
			xlnx,pix-per-clk = <2>;
			xlnx,samples-per-clk = <2>;
			xlnx,scaler-algorithm = <2>;
			xlnx,topology = <0>;
			xlnx,use-uram = <0>;
			xlnx,v-scaler-phases = <64>;
			xlnx,v-scaler-taps = <8>;
			xlnx,video-width = <8>;
			scaler_portshdmi_rx_v_proc_ss_0: ports {
				#address-cells = <1>;
				#size-cells = <0>;
				scaler_port1hdmi_rx_v_proc_ss_0: port@1 {
					/* For xlnx,video-format user needs to fill as per their requirement */
					reg = <1>;
					xlnx,video-format = <3>;
					xlnx,video-width = <8>;
					sca_outhdmi_rx_v_proc_ss_0: endpoint {
						remote-endpoint = <&hdmi_rx_v_frmbuf_wr_0hdmi_rx_v_proc_ss_0>;
					};
				};
				scaler_port0hdmi_rx_v_proc_ss_0: port@0 {
					/* For xlnx,video-format user needs to fill as per their requirement */
					reg = <0>;
					xlnx,video-format = <3>;
					xlnx,video-width = <8>;
					hdmi_rx_v_proc_ss_0hdmi_rx_v_hdmi_rx_ss_0: endpoint {
						remote-endpoint = <&hdmirx_outhdmi_rx_v_hdmi_rx_ss_0>;
					};
				};
			};
		};
		hdmi_tx_v_hdmi_tx_ss_0: v_hdmi_tx_ss@a0040000 {
			clock-names = "s_axi_cpu_aclk", "link_clk", "s_axis_audio_aclk", "video_clk", "s_axis_video_aclk";
			clocks = <&zynqmp_clk 71>, <&misc_clk_2>, <&zynqmp_clk 71>, <&misc_clk_3>, <&misc_clk_0>;
			compatible = "xlnx,v-hdmi-tx-ss-3.2", "xlnx,v-hdmi-tx-ss-3.1";
			interrupt-names = "irq";
			interrupt-parent = <&axi_intc_1>;
			interrupts = <2 2>;
			phy-names = "hdmi-phy0", "hdmi-phy1", "hdmi-phy2";
			phys = <&vphy_lane0 0 1 1 1>, <&vphy_lane1 0 1 1 1>, <&vphy_lane2 0 1 1 1>;
			reg = <0x0 0xa0040000 0x0 0x20000>;
			xlnx,input-pixels-per-clock = <2>;
			xlnx,max-bits-per-component = <8>;
			xlnx,vid-interface = <0>;
			hdmitx_portshdmi_tx_v_hdmi_tx_ss_0: ports {
				#address-cells = <1>;
				#size-cells = <0>;
				encoder_hdmi_porthdmi_tx_v_hdmi_tx_ss_0: port@0 {
					reg = <0>;
					hdmi_tx_v_hdmi_tx_ss_0hdmi_tx_v_mix_0: endpoint {
						remote-endpoint = <&mixer_crtchdmi_tx_v_mix_0>;
					};
				};
			};
		};
		hdmi_tx_v_mix_0: v_mix@b0050000 {
			clock-names = "ap_clk";
			clocks = <&misc_clk_0>;
			compatible = "xlnx,v-mix-5.2", "xlnx,mixer-3.0", "xlnx,mixer-4.0", "xlnx,mixer-5.0";
			interrupt-names = "interrupt";
			interrupt-parent = <&axi_intc_1>;
			interrupts = <1 2>;
			reg = <0x0 0xb0050000 0x0 0x10000>;
			reset-gpios = <&gpio 78 1>;
			xlnx,bpc = <8>;
			xlnx,dma-addr-width = <64>;
			xlnx,num-layers = <10>;
			xlnx,ppc = <2>;
			crtc_mixer_porthdmi_tx_v_mix_0: port@0 {
				reg = <0>;
				mixer_crtchdmi_tx_v_mix_0: endpoint {
					remote-endpoint = <&hdmi_tx_v_hdmi_tx_ss_0hdmi_tx_v_mix_0>;
				};
			};
			xx_mix_masterhdmi_tx_v_mix_0: layer_0 {
				xlnx,layer-id = <0>;
				xlnx,layer-max-height = <2160>;
				xlnx,layer-max-width = <3840>;
				xlnx,layer-primary ;
			};
			xx_mix_overlay_1hdmi_tx_v_mix_0: layer_1 {
				xlnx,layer-alpha ;
				xlnx,layer-id = <1>;
				xlnx,layer-max-width = <1920>;
				xlnx,vformat = "UYVY";
			};
			xx_mix_overlay_2hdmi_tx_v_mix_0: layer_2 {
				xlnx,layer-alpha ;
				xlnx,layer-id = <2>;
				xlnx,layer-max-width = <1920>;
				xlnx,vformat = "UYVY";
			};
			xx_mix_overlay_3hdmi_tx_v_mix_0: layer_3 {
				xlnx,layer-alpha ;
				xlnx,layer-id = <3>;
				xlnx,layer-max-width = <1920>;
				xlnx,vformat = "UYVY";
			};
			xx_mix_overlay_4hdmi_tx_v_mix_0: layer_4 {
				xlnx,layer-alpha ;
				xlnx,layer-id = <4>;
				xlnx,layer-max-width = <1920>;
				xlnx,vformat = "UYVY";
			};
			xx_mix_overlay_5hdmi_tx_v_mix_0: layer_5 {
				xlnx,layer-alpha ;
				xlnx,layer-id = <5>;
				xlnx,layer-max-width = <1920>;
				xlnx,vformat = "RG24";
			};
			xx_mix_overlay_6hdmi_tx_v_mix_0: layer_6 {
				xlnx,layer-alpha ;
				xlnx,layer-id = <6>;
				xlnx,layer-max-width = <1920>;
				xlnx,vformat = "RG24";
			};
			xx_mix_overlay_7hdmi_tx_v_mix_0: layer_7 {
				xlnx,layer-alpha ;
				xlnx,layer-id = <7>;
				xlnx,layer-max-width = <1920>;
				xlnx,vformat = "RG24";
			};
			xx_mix_overlay_8hdmi_tx_v_mix_0: layer_8 {
				xlnx,layer-alpha ;
				xlnx,layer-id = <8>;
				xlnx,layer-max-width = <1920>;
				xlnx,vformat = "RG24";
			};
			xx_mix_overlay_9hdmi_tx_v_mix_0: layer_9 {
				xlnx,layer-alpha ;
				xlnx,layer-id = <9>;
				xlnx,layer-max-width = <1920>;
				xlnx,vformat = "AR24";
			};
			xx_mix_logohdmi_tx_v_mix_0: logo {
				xlnx,layer-id = <10>;
				xlnx,logo-height = <64>;
				xlnx,logo-width = <64>;
			};
		};
		vid_phy_controller_0: vid_phy_controller@a0090000 {
			clock-names = "mgtrefclk0_pad_p_in", "mgtrefclk0_pad_n_in", "mgtrefclk1_pad_p_in", "mgtrefclk1_pad_n_in", "vid_phy_tx_axi4s_aclk", "vid_phy_rx_axi4s_aclk", "vid_phy_sb_aclk", "vid_phy_axi4lite_aclk", "drpclk";
			clocks = <&misc_clk_4>, <&misc_clk_4>, <&misc_clk_4>, <&misc_clk_4>, <&misc_clk_2>, <&misc_clk_2>, <&zynqmp_clk 71>, <&zynqmp_clk 71>, <&zynqmp_clk 71>;
			compatible = "xlnx,vid-phy-controller-2.2", "xlnx,vid-phy-controller-2.1";
			interrupt-names = "irq";
			interrupt-parent = <&axi_intc_1>;
			interrupts = <0 2>;
			reg = <0x0 0xa0090000 0x0 0x10000>;
			xlnx,hdmi-fast-switch = <1>;
			xlnx,input-pixels-per-clock = <2>;
			xlnx,nidru = <0>;
			xlnx,nidru-refclk-sel = <0>;
			xlnx,rx-no-of-channels = <3>;
			xlnx,rx-pll-selection = <0>;
			xlnx,rx-protocol = <1>;
			xlnx,rx-refclk-sel = <1>;
			xlnx,transceiver-type = <5>;
			xlnx,transceiver-width = <2>;
			xlnx,tx-buffer-bypass = <1>;
			xlnx,tx-no-of-channels = <3>;
			xlnx,tx-pll-selection = <6>;
			xlnx,tx-protocol = <1>;
			xlnx,tx-refclk-sel = <0>;
			xlnx,use-gt-ch4-hdmi = <0>;
			vphy_lane0: vphy_lane@0 {
				#phy-cells = <4>;
			};
			vphy_lane1: vphy_lane@1 {
				#phy-cells = <4>;
			};
			vphy_lane2: vphy_lane@2 {
				#phy-cells = <4>;
			};
		};
		misc_clk_4: misc_clk_4 {
			#clock-cells = <0>;
			clock-frequency = <100000000>;
			compatible = "fixed-clock";
		};
		zyxclmm_drm {
			compatible = "xlnx,zocl";
			interrupts-extended = <&axi_intc_0 0 4>, <&axi_intc_0 1 4>, <&axi_intc_0 2 4>, <&axi_intc_0 3 4>, <&axi_intc_0 4 4>, <&axi_intc_0 5 4>, <&axi_intc_0 6 4>, <&axi_intc_0 7 4>, <&axi_intc_0 8 4>, <&axi_intc_0 9 4>, <&axi_intc_0 10 4>, <&axi_intc_0 11 4>, <&axi_intc_0 12 4>, <&axi_intc_0 13 4>, <&axi_intc_0 14 4>, <&axi_intc_0 15 4>, <&axi_intc_0 16 4>, <&axi_intc_0 17 4>, <&axi_intc_0 18 4>, <&axi_intc_0 19 4>, <&axi_intc_0 20 4>, <&axi_intc_0 21 4>, <&axi_intc_0 22 4>, <&axi_intc_0 23 4>, <&axi_intc_0 24 4>, <&axi_intc_0 25 4>, <&axi_intc_0 26 4>, <&axi_intc_0 27 4>, <&axi_intc_0 28 4>, <&axi_intc_0 29 4>, <&axi_intc_0 30 4>, <&axi_intc_0 31 4>, <&axi_intc_1 0 4>, <&axi_intc_1 1 4>, <&axi_intc_1 2 4>,  <&axi_intc_1 3 4>,  <&axi_intc_1 4 4>,  <&axi_intc_1 5 4>, <&axi_intc_1 6 4>, <&axi_intc_1 7 4>,  <&axi_intc_1 8 4>,  <&axi_intc_1 9 4>,  <&axi_intc_1 10 4>, <&axi_intc_1 11 4>, <&axi_intc_1 12 4>, <&axi_intc_1 13 4>, <&axi_intc_1 14 4>, <&axi_intc_1 15 4>, <&axi_intc_1 16 4>, <&axi_intc_1 17 4>, <&axi_intc_1 18 4>, <&axi_intc_1 19 4>, <&axi_intc_1 20 4>, <&axi_intc_1 21 4>, <&axi_intc_1 22 4>, <&axi_intc_1 23 4>, <&axi_intc_1 24 4>, <&axi_intc_1 25 4>, <&axi_intc_1 26 4>, <&axi_intc_1 27 4>, <&axi_intc_1 28 4>, <&axi_intc_1 29 4>, <&axi_intc_1 30 4 >;
		};
		/*
		vcap_fmc_quad_mipi_csi2_rx_capture_pipeline_0_v_proc_ss_scaler_0 {
			compatible = "xlnx,video";
			dma-names = "port0";
			dmas = <&fmc_quad_mipi_csi2_rx_capture_pipeline_0_v_frmbuf_wr_0 0>;
			vcap_portsfmc_quad_mipi_csi2_rx_capture_pipeline_0_v_proc_ss_scaler_0: ports {
				#address-cells = <1>;
				#size-cells = <0>;
				vcap_portfmc_quad_mipi_csi2_rx_capture_pipeline_0_v_proc_ss_scaler_0: port@0 {
					direction = "input";
					reg = <0>;
					fmc_quad_mipi_csi2_rx_capture_pipeline_0_v_frmbuf_wr_0fmc_quad_mipi_csi2_rx_capture_pipeline_0_v_proc_ss_scaler_0: endpoint {
						remote-endpoint = <&sca_outfmc_quad_mipi_csi2_rx_capture_pipeline_0_v_proc_ss_scaler_0>;
					};
				};
			};
		};
		vcap_fmc_quad_mipi_csi2_rx_capture_pipeline_1_v_proc_ss_scaler_1 {
			compatible = "xlnx,video";
			dma-names = "port0";
			dmas = <&fmc_quad_mipi_csi2_rx_capture_pipeline_1_v_frmbuf_wr_1 0>;
			vcap_portsfmc_quad_mipi_csi2_rx_capture_pipeline_1_v_proc_ss_scaler_1: ports {
				#address-cells = <1>;
				#size-cells = <0>;
				vcap_portfmc_quad_mipi_csi2_rx_capture_pipeline_1_v_proc_ss_scaler_1: port@0 {
					direction = "input";
					reg = <0>;
					fmc_quad_mipi_csi2_rx_capture_pipeline_1_v_frmbuf_wr_1fmc_quad_mipi_csi2_rx_capture_pipeline_1_v_proc_ss_scaler_1: endpoint {
						remote-endpoint = <&sca_outfmc_quad_mipi_csi2_rx_capture_pipeline_1_v_proc_ss_scaler_1>;
					};
				};
			};
		};
		vcap_fmc_quad_mipi_csi2_rx_capture_pipeline_2_v_proc_ss_scaler_2 {
			compatible = "xlnx,video";
			dma-names = "port0";
			dmas = <&fmc_quad_mipi_csi2_rx_capture_pipeline_2_v_frmbuf_wr_2 0>;
			vcap_portsfmc_quad_mipi_csi2_rx_capture_pipeline_2_v_proc_ss_scaler_2: ports {
				#address-cells = <1>;
				#size-cells = <0>;
				vcap_portfmc_quad_mipi_csi2_rx_capture_pipeline_2_v_proc_ss_scaler_2: port@0 {
					direction = "input";
					reg = <0>;
					fmc_quad_mipi_csi2_rx_capture_pipeline_2_v_frmbuf_wr_2fmc_quad_mipi_csi2_rx_capture_pipeline_2_v_proc_ss_scaler_2: endpoint {
						remote-endpoint = <&sca_outfmc_quad_mipi_csi2_rx_capture_pipeline_2_v_proc_ss_scaler_2>;
					};
				};
			};
		};
		vcap_fmc_quad_mipi_csi2_rx_capture_pipeline_3_v_proc_ss_scaler_3 {
			compatible = "xlnx,video";
			dma-names = "port0";
			dmas = <&fmc_quad_mipi_csi2_rx_capture_pipeline_3_v_frmbuf_wr_3 0>;
			vcap_portsfmc_quad_mipi_csi2_rx_capture_pipeline_3_v_proc_ss_scaler_3: ports {
				#address-cells = <1>;
				#size-cells = <0>;
				vcap_portfmc_quad_mipi_csi2_rx_capture_pipeline_3_v_proc_ss_scaler_3: port@0 {
					direction = "input";
					reg = <0>;
					fmc_quad_mipi_csi2_rx_capture_pipeline_3_v_frmbuf_wr_3fmc_quad_mipi_csi2_rx_capture_pipeline_3_v_proc_ss_scaler_3: endpoint {
						remote-endpoint = <&sca_outfmc_quad_mipi_csi2_rx_capture_pipeline_3_v_proc_ss_scaler_3>;
					};
				};
			};
		};
		*/
		fmc_quad_mipi_csi2_rx_axis_switch_0: axis_switch_fmc_quad_mipi_csi2_rx_axis_switch_0@0 {
			clock-names = "aclk";
			clocks = <&misc_clk_0>;
			compatible = "xlnx,axis-switch-1.1";
			xlnx,num-mi-slots = <4>;
			xlnx,num-si-slots = <1>;
			xlnx,routing-mode = <0>;
			axis_switch_portsfmc_quad_mipi_csi2_rx_axis_switch_0: ports {
				#address-cells = <1>;
				#size-cells = <0>;
				axis_switch_port1fmc_quad_mipi_csi2_rx_axis_switch_0: port@1 {
					reg = <1>;
					axis_switch_out1fmc_quad_mipi_csi2_rx_axis_switch_0: endpoint {
						remote-endpoint = <&fmc_quad_mipi_csi2_rx_capture_pipeline_0_v_demosaic_0fmc_quad_mipi_csi2_rx_axis_switch_0>;
					};
				};
				axis_switch_port2fmc_quad_mipi_csi2_rx_axis_switch_0: port@2 {
					reg = <2>;
					axis_switch_out2fmc_quad_mipi_csi2_rx_axis_switch_0: endpoint {
						remote-endpoint = <&fmc_quad_mipi_csi2_rx_capture_pipeline_1_v_demosaic_1fmc_quad_mipi_csi2_rx_axis_switch_0>;
					};
				};
				axis_switch_port3fmc_quad_mipi_csi2_rx_axis_switch_0: port@3 {
					reg = <3>;
					axis_switch_out3fmc_quad_mipi_csi2_rx_axis_switch_0: endpoint {
						remote-endpoint = <&fmc_quad_mipi_csi2_rx_capture_pipeline_2_v_demosaic_2fmc_quad_mipi_csi2_rx_axis_switch_0>;
					};
				};
				axis_switch_port4fmc_quad_mipi_csi2_rx_axis_switch_0: port@4 {
					reg = <4>;
					axis_switch_out4fmc_quad_mipi_csi2_rx_axis_switch_0: endpoint {
						remote-endpoint = <&fmc_quad_mipi_csi2_rx_capture_pipeline_3_v_demosaic_3fmc_quad_mipi_csi2_rx_axis_switch_0>;
					};
				};
				axis_switch_port0fmc_quad_mipi_csi2_rx_axis_switch_0: port@0 {
					reg = <0>;
					fmc_quad_mipi_csi2_rx_mipi_csi2_rx_subsystem_0fmc_quad_mipi_csi2_rx_mipi_csi2_rx_subsystem_0: endpoint {
						remote-endpoint = <&mipi_csirx_outfmc_quad_mipi_csi2_rx_mipi_csi2_rx_subsystem_0>;
					};
				};
			};
		};
		vcap_hdmi_rx_v_proc_ss_0 {
			compatible = "xlnx,video";
			dma-names = "port0";
			dmas = <&hdmi_rx_v_frmbuf_wr_0 0>;
			vcap_portshdmi_rx_v_proc_ss_0: ports {
				#address-cells = <1>;
				#size-cells = <0>;
				vcap_porthdmi_rx_v_proc_ss_0: port@0 {
					direction = "input";
					reg = <0>;
					hdmi_rx_v_frmbuf_wr_0hdmi_rx_v_proc_ss_0: endpoint {
						remote-endpoint = <&sca_outhdmi_rx_v_proc_ss_0>;
					};
				};
			};
		};
};

// fmc-quad.dtsi

#include <dt-bindings/media/xilinx-vip.h>

&fmc_quad_fmc_multicam_control_fmc_multicam_iic {
    
    i2cswitch@70 {
        compatible = "nxp,pca9548";
        #address-cells = <1>;
        #size-cells = <0>;
        reg = <0x70>;
        reset-gpios = <&gpio 112 1>;

        i2c@0 {
            #address-cells = <1>;
            #size-cells = <0>;
            reg = <0>;

            max9286_serdes_0: serdes@48 {
                compatible = "maxim,max9286";
                reg = <0x48>;
                enable-gpios = <&gpio 110 0>;
                gpio-controller;
                #gpio-cells = <2>;
                maxim,reverse-channel-microvolt = <100000>;

                ports {
                    #address-cells = <1>;
                    #size-cells = <0>;

                    port@0 {
                        reg = <0>;
                        port-poc-supply = <&camvcc_0>;

                        serdes_in0: endpoint {
                            remote-endpoint = <&sensor_out0>;
                        };
                    };

                    port@1 {
                        reg = <1>;
                        port-poc-supply = <&camvcc_1>;

                        serdes_in1: endpoint {
                            remote-endpoint = <&sensor_out1>;
                        };
                    };

                    port@2 {
                        reg = <2>;
                        port-poc-supply = <&camvcc_2>;

                        serdes_in2: endpoint {
                            remote-endpoint = <&sensor_out2>;
                        };
                    };

                    port@3 {
                        reg = <3>;
                        port-poc-supply = <&camvcc_3>;

                        serdes_in3: endpoint {
                            remote-endpoint = <&sensor_out3>;
                        };
                    };

                    port@4 {
                        reg = <4>;

                        serdes_out0: endpoint {
                            data-lanes = <1 2 3 4>;
                            remote-endpoint = <&mipi_csi_infmc_quad_mipi_csi2_rx_mipi_csi2_rx_subsystem_0>;
                        };
                    };
                };

                i2c-mux {
                    #address-cells = <1>;
                    #size-cells = <0>;

                    i2c@0 {
                        #address-cells = <1>;
                        #size-cells = <0>;
                        reg = <0>;
                        poc = <3>;

                        ar0231_0: sensor@41 {
                            compatible = "onnn,mars";
                            reg = <0x41>, <0x11>;

                            port {
                                sensor_out0: endpoint {
                                    remote-endpoint = <&serdes_in0>;
                                };
                            };
                        };
                    };

                    i2c@1 {
                        #address-cells = <1>;
                        #size-cells = <0>;
                        reg = <1>;
                        poc = <5>;

                        ar0231_1: sensor@42 {
                            compatible = "onnn,mars";
                            reg = <0x42>, <0x12>;

                            port {
                                sensor_out1: endpoint {
                                    remote-endpoint = <&serdes_in1>;
                                };
                            };
                        };
                    };

                    i2c@2 {
                        #address-cells = <1>;
                        #size-cells = <0>;
                        reg = <2>;

                        ar0231_2: sensor@43 {
                            compatible = "onnn,mars";
                            reg = <0x43>, <0x13>;

                            port {
                                sensor_out2: endpoint {
                                    remote-endpoint = <&serdes_in2>;
                                };
                            };
                        };
                    };

                    i2c@3 {
                        #address-cells = <1>;
                        #size-cells = <0>;
                        reg = <3>;

                        ar0231_3: sensor@44 {
                            compatible = "onnn,mars";
                            reg = <0x44>, <0x14>;

                            port {
                                sensor_out3: endpoint {
                                    remote-endpoint = <&serdes_in3>;
                                };
                            };
                        };
                    };
                };
            };
        };

        /* Serializer & Sensor power */
        i2c@2 {
            #address-cells = <1>;
            #size-cells = <0>;
            reg = <2>;

            poc1: poc@28 {
                compatible = "max20087";
                reg = <0x28>;
                enable-gpios = <&gpio 108 0>;

                regulators {
                    camvcc_0: OUT1 {
                        regulator-name = "VOUT1";
                        regulator-min-microvolt = <1200000>;
                        regulator-max-microvolt = <1200000>;
                        regulator-min-microamp  = <600000>;
                        regulator-max-microamp  = <600000>;
                    };
                    camvcc_1: OUT2 {
                        regulator-name = "VOUT2";
                        regulator-min-microvolt = <1200000>;
                        regulator-max-microvolt = <1200000>;
                        regulator-min-microamp  = <600000>;
                        regulator-max-microamp  = <600000>;
                    };
                    camvcc_2: OUT3 {
                        regulator-name = "VOUT3";
                        regulator-min-microvolt = <1200000>;
                        regulator-max-microvolt = <1200000>;
                        regulator-min-microamp  = <600000>;
                        regulator-max-microamp  = <600000>;
                    };
                    camvcc_3: OUT4 {
                        regulator-name = "VOUT4";
                        regulator-min-microvolt = <1200000>;
                        regulator-max-microvolt = <1200000>;
                        regulator-min-microamp  = <600000>;
                        regulator-max-microamp  = <600000>;
                    };
                };
            };
        };
    };
};

&fmc_quad_mipi_csi2_rx_mipi_csi2_rx_subsystem_0 {
    compatible = "xlnx,mipi-csi2-rx-subsystem-5.0";
};

&mipi_csi_infmc_quad_mipi_csi2_rx_mipi_csi2_rx_subsystem_0 {
    data-lanes = <1 2 3 4>;
    remote-endpoint = <&serdes_out0>;
};

&fmc_quad_mipi_csi2_rx_capture_pipeline_0_v_proc_ss_csc_0
{
    compatible = "xlnx,v-vpss-csc";
};
&fmc_quad_mipi_csi2_rx_capture_pipeline_1_v_proc_ss_csc_1
{
    compatible = "xlnx,v-vpss-csc";
};
&fmc_quad_mipi_csi2_rx_capture_pipeline_2_v_proc_ss_csc_2
{
    compatible = "xlnx,v-vpss-csc";
};
&fmc_quad_mipi_csi2_rx_capture_pipeline_3_v_proc_ss_csc_3
{
    compatible = "xlnx,v-vpss-csc";
};

&fmc_quad_mipi_csi2_rx_capture_pipeline_0_v_proc_ss_scaler_0
{
    compatible = "xlnx,v-vpss-scaler-2.2";
};
&fmc_quad_mipi_csi2_rx_capture_pipeline_1_v_proc_ss_scaler_1
{
    compatible = "xlnx,v-vpss-scaler-2.2";
};
&fmc_quad_mipi_csi2_rx_capture_pipeline_2_v_proc_ss_scaler_2
{
    compatible = "xlnx,v-vpss-scaler-2.2";
};
&fmc_quad_mipi_csi2_rx_capture_pipeline_3_v_proc_ss_scaler_3
{
    compatible = "xlnx,v-vpss-scaler-2.2";
};

&fmc_quad_mipi_csi2_rx_capture_pipeline_0_v_frmbuf_wr_0
{
    xlnx,dma-align = <32>;
};
&fmc_quad_mipi_csi2_rx_capture_pipeline_1_v_frmbuf_wr_1
{
    xlnx,dma-align = <32>;
};
&fmc_quad_mipi_csi2_rx_capture_pipeline_2_v_frmbuf_wr_2
{
    xlnx,dma-align = <32>;
};
&fmc_quad_mipi_csi2_rx_capture_pipeline_3_v_frmbuf_wr_3
{
    xlnx,dma-align = <32>;
};

&fmc_quad_mipi_csi2_rx_axis_switch_0 {
    xlnx,num-si-slots = <0x1>;
    xlnx,num-mi-slots = <0x4>;
    clock-names = "aclk";
    clocks = <&misc_clk_0>;
};

&amba_pl {

    /*
    /delete-node/ vcap_fmc_quad_mipi_csi2_rx_capture_pipeline_0_v_proc_ss_scaler_0;
    /delete-node/ vcap_fmc_quad_mipi_csi2_rx_capture_pipeline_1_v_proc_ss_scaler_1;
    /delete-node/ vcap_fmc_quad_mipi_csi2_rx_capture_pipeline_2_v_proc_ss_scaler_2;
    /delete-node/ vcap_fmc_quad_mipi_csi2_rx_capture_pipeline_3_v_proc_ss_scaler_3;
    */
    
    vcap_fmc_quad_mipi_csi2_rx_capture_pipeline_0_v_proc_ss_scaler_0 {
        compatible = "xlnx,video";
        dma-names = "port0", "port1", "port2", "port3";
        dmas = <&fmc_quad_mipi_csi2_rx_capture_pipeline_0_v_frmbuf_wr_0 0>, <&fmc_quad_mipi_csi2_rx_capture_pipeline_1_v_frmbuf_wr_1 0>, <&fmc_quad_mipi_csi2_rx_capture_pipeline_2_v_frmbuf_wr_2 0>, <&fmc_quad_mipi_csi2_rx_capture_pipeline_3_v_frmbuf_wr_3 0>;

        vcap_portsfmc_quad_mipi_csi2_rx_capture_pipeline_0_v_proc_ss_scaler_0: ports {
            #address-cells = <1>;
            #size-cells = <0>;

            vcap_portfmc_quad_mipi_csi2_rx_capture_pipeline_0_v_proc_ss_scaler_0: port@0 {
                direction = "input";
                reg = <0>;
                fmc_quad_mipi_csi2_rx_capture_pipeline_0_v_frmbuf_wr_0fmc_quad_mipi_csi2_rx_capture_pipeline_0_v_proc_ss_scaler_0: endpoint {
                    remote-endpoint = <&sca_outfmc_quad_mipi_csi2_rx_capture_pipeline_0_v_proc_ss_scaler_0>;
                };
            };

            vcap_portfmc_quad_mipi_csi2_rx_capture_pipeline_1_v_proc_ss_scaler_1: port@1 {
                direction = "input";
                reg = <1>;
                fmc_quad_mipi_csi2_rx_capture_pipeline_1_v_frmbuf_wr_1fmc_quad_mipi_csi2_rx_capture_pipeline_1_v_proc_ss_scaler_1: endpoint {
                    remote-endpoint = <&sca_outfmc_quad_mipi_csi2_rx_capture_pipeline_1_v_proc_ss_scaler_1>;
                };
            };

            vcap_portfmc_quad_mipi_csi2_rx_capture_pipeline_2_v_proc_ss_scaler_2: port@2 {
                direction = "input";
                reg = <2>;
                fmc_quad_mipi_csi2_rx_capture_pipeline_2_v_frmbuf_wr_2fmc_quad_mipi_csi2_rx_capture_pipeline_2_v_proc_ss_scaler_2: endpoint {
                    remote-endpoint = <&sca_outfmc_quad_mipi_csi2_rx_capture_pipeline_2_v_proc_ss_scaler_2>;
                };
            };

            vcap_portfmc_quad_mipi_csi2_rx_capture_pipeline_3_v_proc_ss_scaler_3: port@3 {
                direction = "input";
                reg = <3>;
                fmc_quad_mipi_csi2_rx_capture_pipeline_3_v_frmbuf_wr_3fmc_quad_mipi_csi2_rx_capture_pipeline_3_v_proc_ss_scaler_3: endpoint {
                    remote-endpoint = <&sca_outfmc_quad_mipi_csi2_rx_capture_pipeline_3_v_proc_ss_scaler_3>;
                };
            };
        };
    };
};

// hdmi.dtsi

#include <dt-bindings/media/xilinx-vip.h>

&axi_iic_0 {
    /* DP159 exposes a virtual CCF clock. Upon .set_rate(), it adapts its retiming/driving behaviour */
    dp159: hdmi-retimer@5e {
            status = "okay";
            compatible = "ti,dp159";
            reg = <0x5e>;
            #address-cells = <1>;
            #size-cells = <0>;
            #clock-cells = <0>;
    };
};

/* HDMI TX */
&xx_mix_masterhdmi_tx_v_mix_0 {
    /delete-property/ xlnx,layer-primary;
    xlnx,vformat = "BG24";
};
&xx_mix_overlay_1hdmi_tx_v_mix_0 {
    xlnx,layer-max-width = <3840>;
};
&xx_mix_overlay_2hdmi_tx_v_mix_0 {
    xlnx,layer-max-width = <3840>;
};
&xx_mix_overlay_3hdmi_tx_v_mix_0 {
    xlnx,layer-max-width = <3840>;
};
&xx_mix_overlay_4hdmi_tx_v_mix_0 {
    xlnx,layer-max-width = <3840>;
};
&xx_mix_overlay_5hdmi_tx_v_mix_0 {
    xlnx,layer-max-width = <3840>;
};
&xx_mix_overlay_6hdmi_tx_v_mix_0 {
    xlnx,layer-max-width = <3840>;
};
&xx_mix_overlay_7hdmi_tx_v_mix_0 {
    xlnx,layer-max-width = <3840>;
};
&xx_mix_overlay_8hdmi_tx_v_mix_0 {
    xlnx,layer-max-width = <3840>;
};
&xx_mix_overlay_9hdmi_tx_v_mix_0 {
    xlnx,layer-max-width = <3840>;
    xlnx,layer-primary;
};

&hdmi_tx_v_hdmi_tx_ss_0 {
    clock-names = "s_axi_cpu_aclk", "link_clk", "s_axis_audio_aclk", "video_clk", "s_axis_video_aclk", "txref-clk", "retimer-clk";
    clocks = <&zynqmp_clk 71>, <&misc_clk_2>, <&zynqmp_clk 71>, <&misc_clk_3>, <&misc_clk_0>, <&idt8t49n24x 3>, <&dp159>;
};

/* HDMI RX */
&hdmi_rx_v_proc_ss_0 {
    compatible = "xlnx,v-vpss-scaler-2.2";
};

&scaler_port0hdmi_rx_v_proc_ss_0 {
    xlnx,video-format = <XVIP_VF_RBG>;
    xlnx,video-width = <8>;
};
&scaler_port1hdmi_rx_v_proc_ss_0 {
    xlnx,video-format = <XVIP_VF_YUV_422>;
    xlnx,video-width = <8>;
};

&hdmirx_porthdmi_rx_v_hdmi_rx_ss_0 {
    xlnx,video-format = <XVIP_VF_RBG>;
    xlnx,video-width = <8>;
};

&i2c1 {
    i2cswitch@70 {
        i2c@0 {
            /* idt8t49n241 i2c clock generator */
            idt8t49n24x: clock-generator@6c {
                status = "okay";
                compatible = "idt,idt8t49n241";
                #clock-cells = <1>;
                reg = <0x6c>;

                /* input clock(s); the XTAL is hard-wired on the ZCU104 board */
                clocks = <&refhdmi>;
                clock-names = "input-xtal";
            };
        };
    };
};

/ {
    hdmi_tx_clk: amba_pl@0 {

        /* 38.880MHz reference crystal for 8t49n241 clock for HDMI */
        /* IIC controller with 8t49n24x clock generator and DP159 retimer for HDMI TX */
        refhdmi: refhdmi {
                compatible = "fixed-clock";
                #clock-cells = <0>;
                clock-frequency = <38880000>;
        };
    };
};

